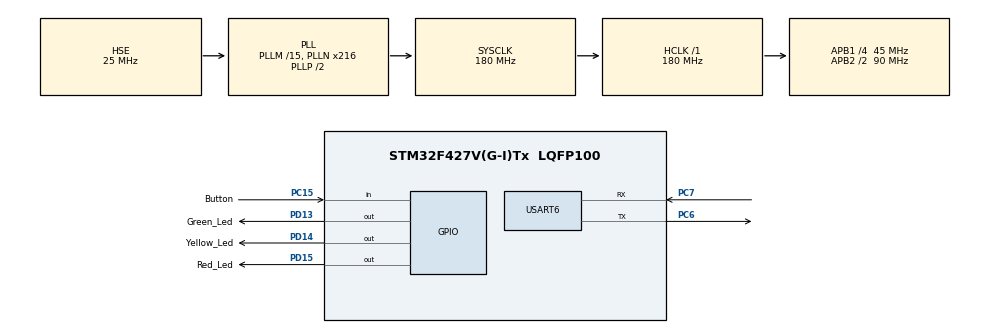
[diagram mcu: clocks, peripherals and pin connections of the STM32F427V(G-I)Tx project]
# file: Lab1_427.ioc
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Mcu.Family=STM32F4
Mcu.Name=STM32F427V(G-I)Tx
Mcu.Package=LQFP100
NVIC.PriorityGroup=NVIC_PRIORITYGROUP_4
NVIC.USART6_IRQn=true\:0\:0\:false\:false\:true\:true\:true
PA13.Mode=JTAG_5_pins
PA13.Signal=SYS_JTMS-SWDIO
PA14.Mode=JTAG_5_pins
PA14.Signal=SYS_JTCK-SWCLK
PA15.Mode=JTAG_5_pins
PA15.Signal=SYS_JTDI
PB3.Mode=JTAG_5_pins
PB3.Signal=SYS_JTDO-SWO
PB4.Mode=JTAG_5_pins
PB4.Signal=SYS_JTRST
PC15/OSC32_OUT.GPIO_Label=Button
PC15/OSC32_OUT.Signal=GPIO_Input
PC6.Mode=Asynchronous
PC6.Signal=USART6_TX
PC7.Mode=Asynchronous
PC7.Signal=USART6_RX
PD13.GPIO_Label=Green_Led
PD13.Signal=GPIO_Output
PD14.GPIO_Label=Yellow_Led
PD14.Signal=GPIO_Output
PD15.GPIO_Label=Red_Led
PD15.Signal=GPIO_Output
PH0/OSC_IN.Mode=HSE-External-Oscillator
PH0/OSC_IN.Signal=RCC_OSC_IN
PH1/OSC_OUT.Mode=HSE-External-Oscillator
PH1/OSC_OUT.Signal=RCC_OSC_OUT
ProjectManager.HeapSize=0x200
ProjectManager.StackSize=0x400
ProjectManager.TargetToolchain=STM32CubeIDE
RCC.48MHZClocksFreq_Value=90000000
RCC.AHBFreq_Value=180000000
RCC.APB1CLKDivider=RCC_HCLK_DIV4
RCC.APB1Freq_Value=45000000
RCC.APB1TimFreq_Value=90000000
RCC.APB2CLKDivider=RCC_HCLK_DIV2
RCC.APB2Freq_Value=90000000
RCC.APB2TimFreq_Value=180000000
RCC.CortexFreq_Value=180000000
RCC.HCLKFreq_Value=180000000
RCC.HSE_VALUE=25000000
RCC.HSI_VALUE=16000000
RCC.LSE_VALUE=32768
RCC.PLLM=15
RCC.PLLN=216
RCC.PLLSourceVirtual=RCC_PLLSOURCE_HSE
RCC.SYSCLKFreq_VALUE=180000000
RCC.SYSCLKSource=RCC_SYSCLKSOURCE_PLLCLK
RCC.VCOOutputFreq_Value=360000000
USART6.VirtualMode=VM_ASYNC
board=custom

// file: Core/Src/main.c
/* USER CODE BEGIN Header */
/**
 ******************************************************************************
 * @file           : main.c
 * @brief          : Main program body
 ******************************************************************************
 * @attention
 *
 * <h2><center>&copy; Copyright (c) 2021 STMicroelectronics.
 * All rights reserved.</center></h2>
 *
 * This software component is licensed by ST under BSD 3-Clause license,
 * the "License"; You may not use this file except in compliance with the
 * License. You may obtain a copy of the License at:
 *                        opensource.org/licenses/BSD-3-Clause
 *
 ******************************************************************************
 */
/* USER CODE END Header */
#include "main.h"
#include "usart.h"
#include "gpio.h"

/* USER CODE BEGIN Includes */
#include "led_helper.h"
#include "uart_helper.h"
#include "button_helper.h"
#include "light_sequence.h"
/* USER CODE END Includes */

void SystemClock_Config(void);

/* USER CODE BEGIN 0 */

int increase_mode(int mode, size_t sequences_number) {
	if (mode >= sequences_number - 1) {
		return 0;
	}
	return mode + 1;
}

/* USER CODE END 0 */

int main(void)
{

  /* MCU Configuration--------------------------------------------------------*/

  /* Reset of all peripherals, Initializes the Flash interface and the Systick. */
  HAL_Init();

  /* Configure the system clock */
  SystemClock_Config();

  /* Initialize all configured peripherals */
  MX_GPIO_Init();
  MX_USART6_UART_Init();
  /* USER CODE BEGIN 2 */

	size_t sequences_number = 4;
	size_t place_to_create_new = 4;

	light_sequence_t **sequences = malloc(sizeof(light_sequence_t*) * 8);

	for (int i = 0; i < sequences_number; ++i) {
		sequences[i] = malloc(sizeof(light_sequence_t));
	}
	for (int i = 4; i < 8; ++i) {
		sequences[i] = 0;
	}
	sequences[0]->period = 500;
	sequences[0]->last_tick = 0;
	sequences[0]->sequence_size = 4;
	enum LED_STATE STATE_1[] = { GREEN, RED, GREEN, YELLOW };
	sequences[0]->states = STATE_1;

	sequences[1]->period = 200;
	sequences[1]->last_tick = 0;
	sequences[1]->sequence_size = 3;
	enum LED_STATE STATE_2[] = { GREEN, YELLOW, RED };
	sequences[1]->states = STATE_2;

	sequences[2]->period = 5000;
	sequences[2]->last_tick = 0;
	sequences[2]->sequence_size = 2;
	enum LED_STATE STATE_3[] = { GREEN, RED };
	sequences[2]->states = STATE_3;

	sequences[3]->period = 75;
	sequences[3]->last_tick = 0;
	sequences[3]->sequence_size = 6;
	enum LED_STATE STATE_4[] = { YELLOW, GREEN, YELLOW, RED, GREEN, RED };
	sequences[3]->states = STATE_4;

	int current_mode = 0, button_is_held = 0;
	uint32_t current_tick = HAL_GetTick(), start_tick = HAL_GetTick(),
			sequence_tick = 0;
  /* USER CODE END 2 */

  /* Infinite loop */
  /* USER CODE BEGIN WHILE */
	while (1) {
		current_tick = HAL_GetTick();
		if (current_tick - start_tick < 0) {
			start_tick = HAL_GetTick();
		}
		sequence_tick = (current_tick - start_tick
				+ sequences[current_mode]->last_tick);

		uart_command_result_t uart_command = process_uart_input();

		if (uart_command.result_type == UART_RESULT_SET) {
			int *new_mode = (int*) uart_command.result_data;
			if (*new_mode > 0 && *new_mode <= sequences_number) {
				sequences[current_mode]->last_tick = sequence_tick
						% (sequences[current_mode]->period
								* sequences[current_mode]->sequence_size);
				current_mode = *new_mode - 1;
				start_tick = current_tick;
			}

			free(uart_command.result_data);
		} else if (uart_command.result_type == UART_RESULT_NEW) {
			if (sequences[place_to_create_new] != 0) {
				free(sequences[place_to_create_new]->states);
				free(sequences[place_to_create_new]);
			}
			light_sequence_t *got_sequence =
					(light_sequence_t*) uart_command.result_data;

			sequences[place_to_create_new] = got_sequence;
			sequences[place_to_create_new]->last_tick = 0;

			send_uart_int(sequences[place_to_create_new]->period);
			send_uart_int(sequences[place_to_create_new]->sequence_size);

			if (place_to_create_new == 7) {
				place_to_create_new = 4;
			} else {
				place_to_create_new++;
			}
			if (sequences_number < 8) {
				sequences_number++;
			}
//			send_uart_int(sequences_number);
//			send_uart_int(place_to_create_new);
		}

		int step = (sequence_tick / sequences[current_mode]->period)
				% sequences[current_mode]->sequence_size;

		reset_leds();
		HAL_Delay(1);
		switch (sequences[current_mode]->states[step]) {
		case GREEN:
			turn_on_only_green();
			break;
		case RED:
			turn_on_only_red();
			break;
		case YELLOW:
			turn_on_only_yellow();
			break;
		case BLACK:
			reset_leds();
			break;
		}
		if (is_button_pressed() && !button_is_held) {
			sequences[current_mode]->last_tick = sequence_tick
					% (sequences[current_mode]->period
							* sequences[current_mode]->sequence_size);
			current_mode = increase_mode(current_mode, sequences_number);
			start_tick = current_tick;
			button_is_held = 1;
		} else if (!is_button_pressed() && button_is_held) {
			button_is_held = 0;
		}
    /* USER CODE END WHILE */

	}
}

void SystemClock_Config(void)
{
  RCC_OscInitTypeDef RCC_OscInitStruct = {0};
  RCC_ClkInitTypeDef RCC_ClkInitStruct = {0};

  /** Configure the main internal regulator output voltage
  */
  __HAL_RCC_PWR_CLK_ENABLE();
  __HAL_PWR_VOLTAGESCALING_CONFIG(PWR_REGULATOR_VOLTAGE_SCALE1);
  /** Initializes the RCC Oscillators according to the specified parameters
  * in the RCC_OscInitTypeDef structure.
  */
  RCC_OscInitStruct.OscillatorType = RCC_OSCILLATORTYPE_HSE;
  RCC_OscInitStruct.HSEState = RCC_HSE_ON;
  RCC_OscInitStruct.PLL.PLLState = RCC_PLL_ON;
  RCC_OscInitStruct.PLL.PLLSource = RCC_PLLSOURCE_HSE;
  RCC_OscInitStruct.PLL.PLLM = 15;
  RCC_OscInitStruct.PLL.PLLN = 216;
  RCC_OscInitStruct.PLL.PLLP = RCC_PLLP_DIV2;
  RCC_OscInitStruct.PLL.PLLQ = 4;
  if (HAL_RCC_OscConfig(&RCC_OscInitStruct) != HAL_OK)
  {
    Error_Handler();
  }
  /** Activate the Over-Drive mode
  */
  if (HAL_PWREx_EnableOverDrive() != HAL_OK)
  {
    Error_Handler();
  }
  /** Initializes the CPU, AHB and APB buses clocks
  */
  RCC_ClkInitStruct.ClockType = RCC_CLOCKTYPE_HCLK|RCC_CLOCKTYPE_SYSCLK
                              |RCC_CLOCKTYPE_PCLK1|RCC_CLOCKTYPE_PCLK2;
  RCC_ClkInitStruct.SYSCLKSource = RCC_SYSCLKSOURCE_PLLCLK;
  RCC_ClkInitStruct.AHBCLKDivider = RCC_SYSCLK_DIV1;
  RCC_ClkInitStruct.APB1CLKDivider = RCC_HCLK_DIV4;
  RCC_ClkInitStruct.APB2CLKDivider = RCC_HCLK_DIV2;

  if (HAL_RCC_ClockConfig(&RCC_ClkInitStruct, FLASH_LATENCY_5) != HAL_OK)
  {
    Error_Handler();
  }
}

void Error_Handler(void)
{
	__disable_irq();
	while (1) {
	}
}

/************************ (C) COPYRIGHT STMicroelectronics *****END OF FILE****/
